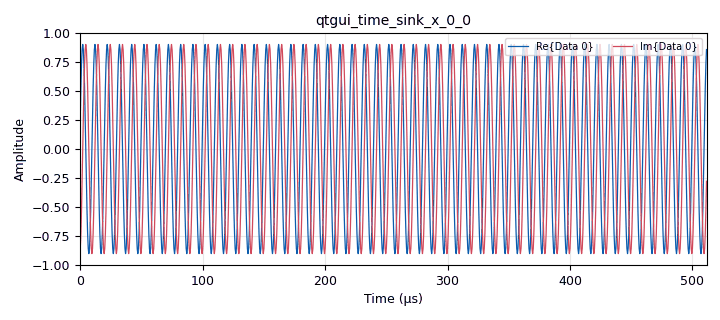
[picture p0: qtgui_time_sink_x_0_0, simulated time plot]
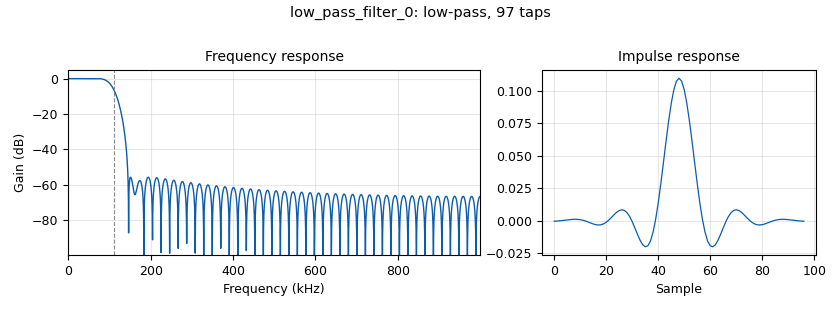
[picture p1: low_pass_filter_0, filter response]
options:
  parameters:
    author: atkay
    generate_options: qt_gui
    id: test
    output_language: python
    title: Not titled yet
  states: {}

blocks:
- name: lo_freq
  id: variable
  parameters:
    value: int(1.6e9)
  states: {}
- name: samp_rate
  id: variable
  parameters:
    value: int(2e6)
  states: {}
- name: analog_sig_source_x_0
  id: analog_sig_source_x
  parameters:
    amp: '0.9'
    freq: 100e3
    offset: '0'
    phase: '0'
    samp_rate: samp_rate
    type: complex
    waveform: analog.GR_COS_WAVE
  states: {}
- name: blocks_complex_to_mag_squared_0
  id: blocks_complex_to_mag_squared
  parameters: {}
  states: {}
- name: blocks_moving_average_xx_0
  id: blocks_moving_average_xx
  parameters:
    length: '1000'
    max_iter: '4000'
    scale: '1e-3'
    type: float
  states: {}
- name: blocks_nlog10_ff_0
  id: blocks_nlog10_ff
  parameters:
    k: '20'
  states: {}
- name: iio_pluto_sink_0
  id: iio_pluto_sink
  parameters:
    attenuation1: '0'
    bandwidth: int(2e6)
    buffer_size: '32768'
    cyclic: 'True'
    filter_source: '''Auto'''
    frequency: lo_freq
    samplerate: samp_rate
    type: fc32
    uri: ip:192.168.3.1
  states: {}
- name: iio_pluto_source_0
  id: iio_pluto_source
  parameters:
    bandwidth: int(2e6)
    bbdc: 'True'
    buffer_size: '32768'
    filter_source: '''Auto'''
    frequency: lo_freq
    gain1: '''manual'''
    manual_gain1: '50'
    quadrature: 'True'
    rfdc: 'True'
    samplerate: samp_rate
    type: fc32
    uri: ip:192.168.2.1
  states: {}
- name: low_pass_filter_0
  id: low_pass_filter
  parameters:
    cutoff_freq: '110000'
    decim: '1'
    gain: '1'
    samp_rate: samp_rate
    type: fir_filter_ccf
    width: '50000'
    win: window.WIN_HAMMING
  states: {}
- name: qtgui_freq_sink_x_0
  id: qtgui_freq_sink_x
  parameters:
    bw: samp_rate
    fc: '0'
    fftsize: '1024'
    type: float
  states: {}
- name: qtgui_time_sink_x_0
  id: qtgui_time_sink_x
  parameters:
    size: '1024'
    srate: samp_rate
    type: float
  states: {}
- name: qtgui_time_sink_x_0_0
  id: qtgui_time_sink_x
  parameters:
    size: '1024'
    srate: samp_rate
    type: complex
  states: {}

connections:
- [analog_sig_source_x_0, '0', iio_pluto_sink_0, '0']
- [analog_sig_source_x_0, '0', qtgui_time_sink_x_0_0, '0']
- [blocks_complex_to_mag_squared_0, '0', blocks_moving_average_xx_0, '0']
- [blocks_moving_average_xx_0, '0', blocks_nlog10_ff_0, '0']
- [blocks_nlog10_ff_0, '0', qtgui_freq_sink_x_0, '0']
- [blocks_nlog10_ff_0, '0', qtgui_time_sink_x_0, '0']
- [iio_pluto_source_0, '0', low_pass_filter_0, '0']
- [low_pass_filter_0, '0', blocks_complex_to_mag_squared_0, '0']

metadata:
  file_format: 1
  grc_version: 3.10.12.0
